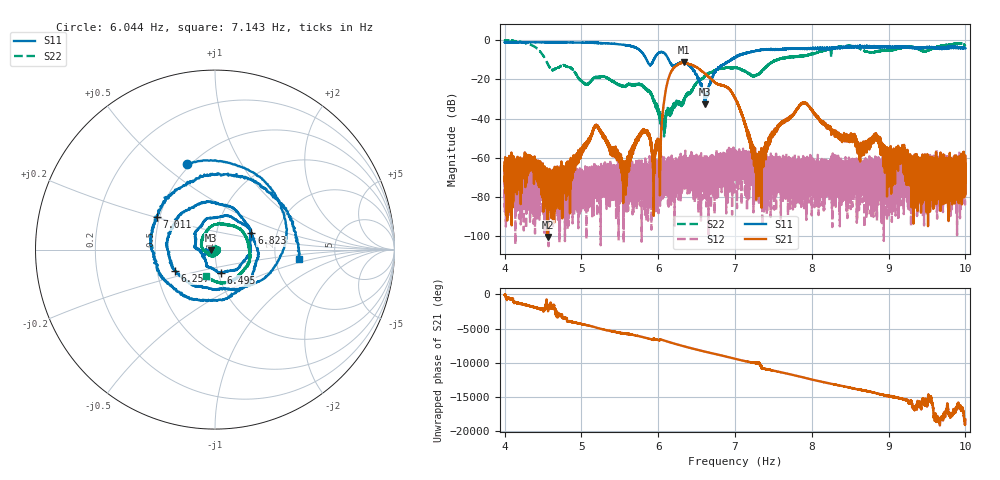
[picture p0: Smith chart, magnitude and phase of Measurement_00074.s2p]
!Created with skrf (http://scikit-rf.org).
# Hz S RI R 50.0
!freq ReS11 ImS11 ReS21 ImS21 ReS12 ImS12 ReS22 ImS22
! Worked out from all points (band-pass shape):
!   14001 points, 4 Hz to 10 Hz, reference 50 ohm
!   highest |S21| = -11.35 dB at 6.338 Hz (marker M1); lowest = -100.3 dB at 4.56 Hz (marker M2)
!   |S21| within 3 dB of the highest: 6.198 Hz to 6.521 Hz (322.9 mHz wide, 5.08 % of centre); 6.522011 Hz to 6.522251 Hz (239.9 uHz wide, 0.00368 % of centre)
!   lowest |S11| = -32.7 dB at 6.612 Hz (marker M3), VSWR 1.05, Z = 47.7 - j0.246 ohm
!   |S11| at or under -10 dB: 5.85 Hz to 5.942 Hz (92.18 mHz wide, 1.56 % of centre); 6.138 Hz to 6.951 Hz (812.6 mHz wide, 12.4 % of centre); 6.952104 Hz to 6.953485 Hz (1.38 mHz wide, 0.0199 % of centre) (the widest 3 of 5)
!   |S22| runs from -49.0 to -0.2 dB; largest |S21 - S12| = 0.27
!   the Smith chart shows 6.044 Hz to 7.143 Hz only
!   S11 on the Smith chart (normalised r, x): 6.044 Hz: 0.48, +0.61; 6.257 Hz: 0.62, -0.16; 6.495 Hz: 1.03, -0.27; 6.823 Hz: 1.48, +0.28; 7.011 Hz: 0.49, +0.20; 7.143 Hz: 2.73, -0.37
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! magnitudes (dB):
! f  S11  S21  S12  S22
! 4 Hz  -1.1  -64.6  -70.3  -0.2
! 4.56 Hz  -1.1  -100.3  -78.1  -12.0
! 5 Hz  -1.3  -56.7  -75.1  -20.9
! 5.193 Hz  -1.4  -43.5  -69.2  -18.8
! 5.563 Hz  -2.4  -71.8  -67.6  -23.8
! 5.8 Hz  -6.8  -46.8  -72.1  -23.4
! 6 Hz  -6.7  -54.0  -66.6  -35.0
! 6.044 Hz  -6.0  -44.1  -66.1  -41.7
! 6.121 Hz  -8.9  -21.3  -63.6  -36.6
! 6.257 Hz  -12.0  -12.4  -62.6  -32.3
! 6.338 Hz  -11.4  -11.4  -65.2  -31.1
! 6.495 Hz  -17.5  -13.7  -64.6  -22.1
! 6.612 Hz  -32.7  -17.2  -63.0  -18.1
! 6.823 Hz  -13.1  -22.9  -65.6  -14.4
! 7 Hz  -8.8  -29.6  -57.8  -14.0
! 7.011 Hz  -8.7  -30.2  -66.5  -14.2
! 7.143 Hz  -6.5  -44.7  -60.8  -16.1
! 7.31 Hz  -5.2  -66.0  -67.8  -17.3
! 7.59 Hz  -4.6  -42.4  -67.2  -9.5
! 8 Hz  -4.4  -35.6  -62.7  -6.9
! 9 Hz  -3.6  -61.8  -71.0  -5.1
! 10 Hz  -4.2  -65.8  -62.3  -3.1
